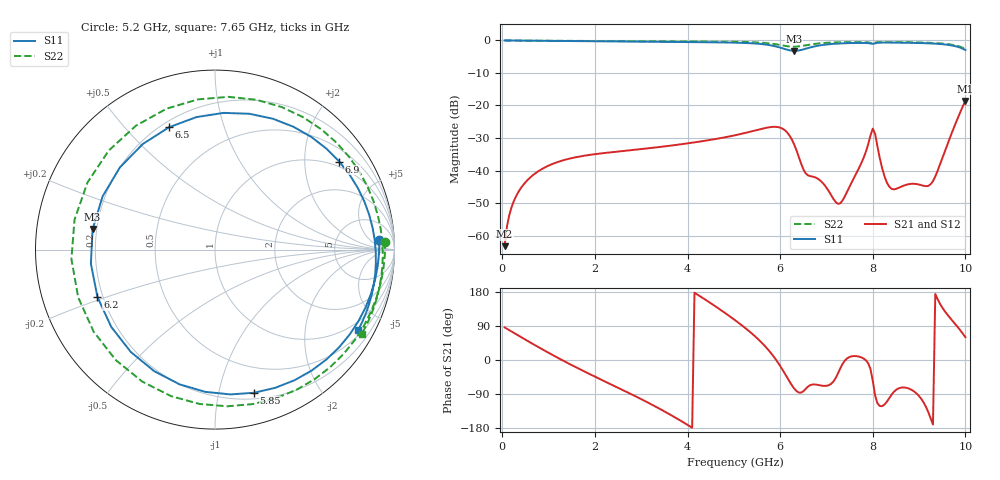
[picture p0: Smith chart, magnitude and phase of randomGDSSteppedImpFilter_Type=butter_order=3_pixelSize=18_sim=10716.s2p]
! freq	dB(S11)	phase(S11)	dB(S12)	phase(S12)
!  dB(S21)	phase(S21)	dB(S22)	phase(S22)
!S-par simulation data
#  GHz  S  DB  R 50
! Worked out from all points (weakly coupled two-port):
!   200 points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, 50 MHz to 10 GHz, reference 50 ohm
!   highest |S21| = -18.61 dB at 10 GHz (marker M1); lowest = -63.3 dB at 50 MHz (marker M2)
!   lowest |S11| = -3.2 dB at 6.3 GHz (marker M3), VSWR 5.48, Z = 9.19 + j4.02 ohm
!   |S11| at or under -10 dB: nowhere
!   |S22| runs from -2.6 to 0.0 dB; largest |S21 - S12| = 0
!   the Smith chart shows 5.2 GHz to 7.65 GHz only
!   S11 on the Smith chart (normalised r, x): 5.2 GHz: 16, +11; 5.85 GHz: 0.25, -1.28; 6.2 GHz: 0.18, -0.19; 6.5 GHz: 0.23, +0.67; 6.9 GHz: 0.83, +2.93; 7.65 GHz: 0.67, -3.71
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0.05  -0.00 -3.7  -63.26 86.0  -63.26 86.0  -0.00 -3.7
0.2  -0.02 -14.7  -51.28 75.2  -51.28 75.2  -0.02 -14.7
0.5  -0.05 -36.3  -43.62 53.6  -43.62 53.6  -0.04 -36.4
1.1  -0.12 -78.5  -37.88 12.3  -37.88 12.3  -0.10 -78.6
1.75  -0.20 -121.8  -35.49 -29.0  -35.49 -29.0  -0.14 -121.9
2.6  -0.32 -175.9  -34.01 -79.1  -34.01 -79.1  -0.19 -176.1
3.4  -0.43 133.1  -32.76 -128.9  -32.76 -128.9  -0.24 132.8
4.25  -0.53 76.2  -31.13 169.8  -31.13 169.8  -0.29 75.8
5.05  -0.69 16.2  -29.08 102.9  -29.08 102.9  -0.41 15.7
5.2  -0.75 3.2  -28.60 88.9  -28.60 88.9  -0.46 2.7
5.85  -1.65 -74.8  -26.57 10.8  -26.57 10.8  -1.05 -76.3
6.2  -3.02 -158.1  -29.19 -56.2  -29.19 -56.2  -1.86 -160.8
6.3  -3.21 170.5  -31.90 -74.8  -31.90 -74.8  -1.94 167.9
6.5  -2.76 110.6  -39.59 -82.5  -39.59 -82.5  -1.62 108.9
6.7  -1.97 66.2  -41.86 -64.6  -41.86 -64.6  -1.14 65.0
6.9  -1.42 35.3  -43.53 -67.7  -43.53 -67.7  -0.83 34.4
7.25  -0.96 -0.9  -50.25 -35.1  -50.25 -35.1  -0.58 -1.6
7.65  -0.77 -29.3  -40.72 10.1  -40.72 10.1  -0.51 -29.9
8  -1.04 -48.0  -27.11 -54.9  -27.11 -54.9  -0.83 -48.5
8.35  -0.66 -65.1  -44.84 -101.8  -44.84 -101.8  -0.47 -65.6
9.25  -0.92 -106.9  -44.21 -153.9  -44.21 -153.9  -0.74 -107.5
10  -2.95 -158.1  -18.61 60.1  -18.61 60.1  -2.62 -159.9
